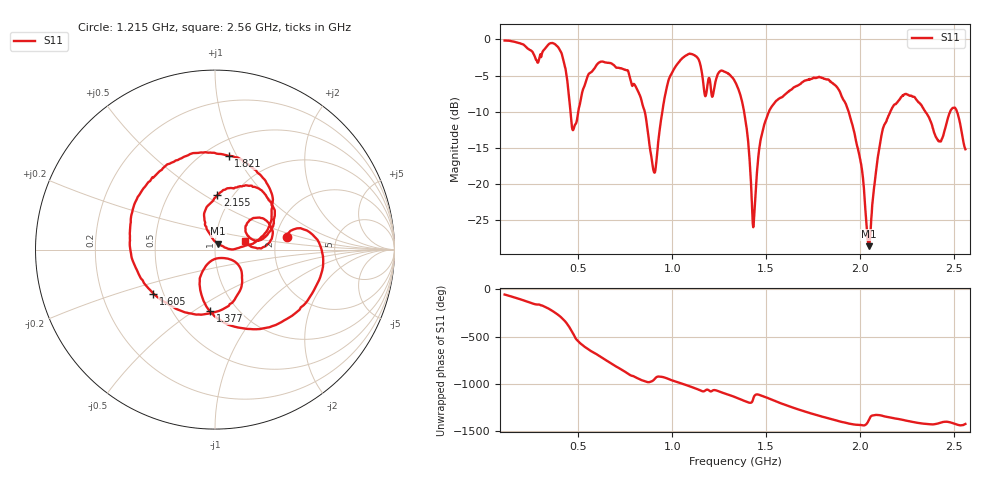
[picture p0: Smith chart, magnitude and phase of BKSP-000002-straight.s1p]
# MHz S MA R 50
!  freq  S11
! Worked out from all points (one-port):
!   1000 points, 108 MHz to 2.56 GHz, reference 50 ohm
!   lowest |S11| = -28.6 dB at 2.047 GHz (marker M1), VSWR 1.08, Z = 51.7 + j3.38 ohm
!   |S11| at or under -10 dB: 1.382 GHz to 1.515 GHz (132.6 MHz wide, 9.15 % of centre); 1.939 GHz to 2.161 GHz (221.8 MHz wide, 10.8 % of centre); 2.347 GHz to 2.479 GHz (131.8 MHz wide, 5.46 % of centre)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
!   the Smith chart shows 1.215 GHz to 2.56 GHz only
!   S11 on the Smith chart (normalised r, x): 1.215 GHz: 2.28, +0.38; 1.377 GHz: 0.75, -0.59; 1.605 GHz: 0.44, -0.26; 1.821 GHz: 0.64, +0.93; 2.155 GHz: 0.85, +0.57; 2.56 GHz: 1.39, +0.14
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108  0.9827 -56.1
196.3604  0.9327 -109.3
326.4464  0.875 171.0
377.99  0.9224 110.3
414.8068  0.7714 51.6
456.5325  0.3372 -54.2
510.5305  0.3683 148.7
566.983  0.5905 67.2
630.7988  0.7027 -9.8
677.4334  0.6813 -67.3
721.6136  0.633 -119.4
814.8829  0.4468 139.7
903.2432  0.1205 124.6
1028.42  0.6793 97.3
1129.053  0.7606 28.0
1214.959  0.4047 10.0
1335.227  0.5085 -60.5
1376.953  0.3452 -94.7
1433.405  0.05275 -63.4
1489.858  0.2583 -55.7
1605.217  0.4218 -144.3
1642.034  0.4599 -170.8
1821.209  0.5279 81.7
1948.841  0.2839 16.8
2047.019  0.03712 61.7
2155.015  0.3045 87.4
2255.648  0.4128 46.2
2560  0.1739 16.3
